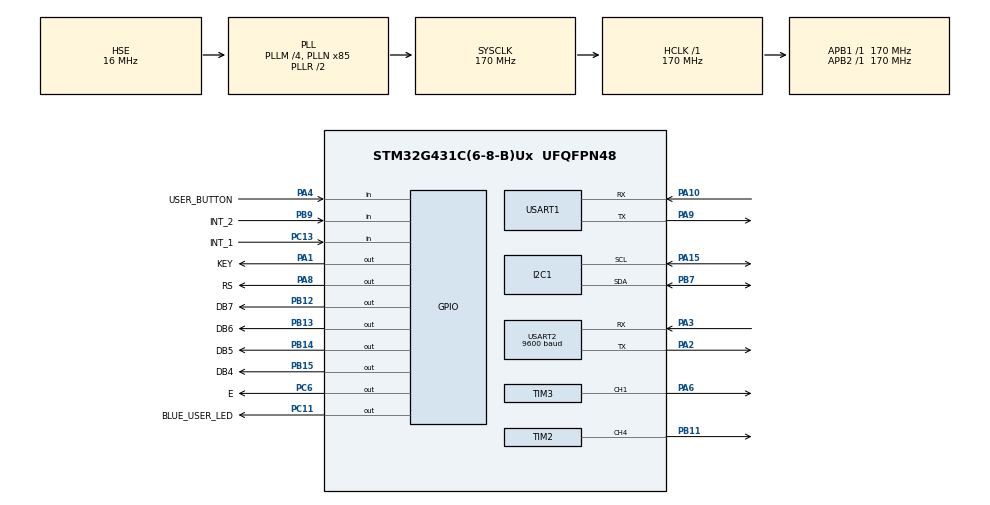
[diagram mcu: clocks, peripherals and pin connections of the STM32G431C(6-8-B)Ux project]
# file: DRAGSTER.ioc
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Dma.Request0=TIM2_CH4
Dma.TIM2_CH4.0.Direction=DMA_MEMORY_TO_PERIPH
Dma.TIM2_CH4.0.EventEnable=DISABLE
Dma.TIM2_CH4.0.Instance=DMA1_Channel1
Dma.TIM2_CH4.0.MemDataAlignment=DMA_MDATAALIGN_HALFWORD
Dma.TIM2_CH4.0.MemInc=DMA_MINC_ENABLE
Dma.TIM2_CH4.0.Mode=DMA_CIRCULAR
Dma.TIM2_CH4.0.PeriphDataAlignment=DMA_PDATAALIGN_HALFWORD
Dma.TIM2_CH4.0.PeriphInc=DMA_PINC_DISABLE
Dma.TIM2_CH4.0.Polarity=HAL_DMAMUX_REQ_GEN_RISING
Dma.TIM2_CH4.0.Priority=DMA_PRIORITY_LOW
Dma.TIM2_CH4.0.RequestNumber=1
Dma.TIM2_CH4.0.SignalID=NONE
Dma.TIM2_CH4.0.SyncEnable=DISABLE
Dma.TIM2_CH4.0.SyncPolarity=HAL_DMAMUX_SYNC_NO_EVENT
Dma.TIM2_CH4.0.SyncRequestNumber=1
Dma.TIM2_CH4.0.SyncSignalID=NONE
I2C1.Timing=0x40B285C2
Mcu.Family=STM32G4
Mcu.Name=STM32G431C(6-8-B)Ux
Mcu.Package=UFQFPN48
NVIC.DMA1_Channel1_IRQn=true\:0\:0\:false\:false\:true\:false\:true\:true
NVIC.PriorityGroup=NVIC_PRIORITYGROUP_4
NVIC.USART2_IRQn=true\:0\:0\:false\:false\:true\:true\:true\:true
PA1.GPIO_Label=KEY
PA1.Signal=GPIO_Output
PA10.Mode=Asynchronous
PA10.Signal=USART1_RX
PA13.Mode=Trace_Asynchronous_SW
PA13.Signal=SYS_JTMS-SWDIO
PA14.Mode=Trace_Asynchronous_SW
PA14.Signal=SYS_JTCK-SWCLK
PA15.Mode=I2C
PA15.Signal=I2C1_SCL
PA2.Mode=Asynchronous
PA2.Signal=USART2_TX
PA3.Mode=Asynchronous
PA3.Signal=USART2_RX
PA4.GPIO_Label=USER_BUTTON
PA4.GPIO_PuPd=GPIO_PULLUP
PA4.Signal=GPIO_Input
PA6.Signal=S_TIM3_CH1
PA8.GPIO_Label=RS
PA8.Signal=GPIO_Output
PA9.Mode=Asynchronous
PA9.Signal=USART1_TX
PB11.Signal=S_TIM2_CH4
PB12.GPIO_Label=DB7
PB12.Signal=GPIO_Output
PB13.GPIO_Label=DB6
PB13.Signal=GPIO_Output
PB14.GPIO_Label=DB5
PB14.Signal=GPIO_Output
PB15.GPIO_Label=DB4
PB15.Signal=GPIO_Output
PB3.Mode=Trace_Asynchronous_SW
PB3.Signal=SYS_JTDO-SWO
PB7.Mode=I2C
PB7.Signal=I2C1_SDA
PB9.GPIO_Label=INT_2
PB9.Signal=GPIO_Input
PC11.GPIO_Label=BLUE_USER_LED
PC11.Signal=GPIO_Output
PC13.GPIO_Label=INT_1
PC13.Signal=GPIO_Input
PC6.GPIO_Label=E
PC6.Signal=GPIO_Output
PF0-OSC_IN.Mode=HSE-External-Oscillator
PF0-OSC_IN.Signal=RCC_OSC_IN
PF1-OSC_OUT.Mode=HSE-External-Oscillator
PF1-OSC_OUT.Signal=RCC_OSC_OUT
ProjectManager.HeapSize=0x200
ProjectManager.StackSize=0x400
ProjectManager.TargetToolchain=STM32CubeIDE
RCC.ADC12Freq_Value=170000000
RCC.AHBFreq_Value=170000000
RCC.APB1Freq_Value=170000000
RCC.APB1TimFreq_Value=170000000
RCC.APB2Freq_Value=170000000
RCC.APB2TimFreq_Value=170000000
RCC.CortexFreq_Value=170000000
RCC.EXTERNAL_CLOCK_VALUE=12288000
RCC.HCLKFreq_Value=170000000
RCC.HSE_VALUE=16000000
RCC.HSI48_VALUE=48000000
RCC.HSI_VALUE=16000000
RCC.LSE_VALUE=32768
RCC.PLLM=RCC_PLLM_DIV4
RCC.PLLN=85
RCC.PLLSourceVirtual=RCC_PLLSOURCE_HSE
RCC.SYSCLKFreq_VALUE=170000000
RCC.SYSCLKSource=RCC_SYSCLKSOURCE_PLLCLK
RCC.USBFreq_Value=170000000
RCC.VCOOutputFreq_Value=340000000
SH.S_TIM2_CH4.0=TIM2_CH4,PWM Generation4 CH4
SH.S_TIM3_CH1.0=TIM3_CH1,PWM Generation1 CH1
TIM2.AutoReloadPreload=TIM_AUTORELOAD_PRELOAD_ENABLE
TIM2.Channel-PWM\ Generation4\ CH4=TIM_CHANNEL_4
TIM2.PeriodNoDither=212
TIM2.Prescaler=0
TIM3.AutoReloadPreload=TIM_AUTORELOAD_PRELOAD_ENABLE
TIM3.Channel-PWM\ Generation1\ CH1=TIM_CHANNEL_1
TIM3.PeriodNoDither=19999
TIM3.Prescaler=169
TIM3.PulseNoDither_1=999
USART1.VirtualMode-Asynchronous=VM_ASYNC
USART2.BaudRate=9600
USART2.VirtualMode-Asynchronous=VM_ASYNC
VP_SYS_VS_DBSignals.Mode=DisableDeadBatterySignals
VP_TIM2_VS_ClockSourceINT.Mode=Internal
VP_TIM3_VS_ClockSourceINT.Mode=Internal
board=custom

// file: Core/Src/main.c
/* USER CODE BEGIN Header */
/**
  ******************************************************************************
  * @file           : main.c
  * @brief          : Main program body
  ******************************************************************************
  * @attention
  *
  * Copyright (c) 2026 STMicroelectronics.
  * All rights reserved.
  *
  * This software is licensed under terms that can be found in the LICENSE file
  * in the root directory of this software component.
  * If no LICENSE file comes with this software, it is provided AS-IS.
  *
  ******************************************************************************
  */
/* USER CODE END Header */
#include "main.h"
#include "dma.h"
#include "i2c.h"
#include "tim.h"
#include "usart.h"
#include "gpio.h"

/* USER CODE BEGIN Includes */
#include "hc05_bt.h"
#include "mma8452q.h"
#include "tc1602a_lcd.h"
#include <stdio.h>
#include <string.h>
#include "bldc_esc.h"
#include "ws2812.h"
/* USER CODE END Includes */

/* USER CODE BEGIN PV */
MMA8452Q_Handle_t accel = { .hi2c=&hi2c1, .i2c_addr=MMA8452Q_I2C_ADDR,
                             .range=MMA8452Q_RANGE_8G, .odr=MMA8452Q_ODR_800HZ };
BT_Handle_t bt;
ESC_Handle_t esc;              /* add this */
/* USER CODE END PV */

void SystemClock_Config(void);

int main(void)
{

  /* USER CODE BEGIN 1 */
	/* Force PA6 LOW before ESC boots — same as holding reset on Nucleo */
//	__HAL_RCC_GPIOA_CLK_ENABLE();
//	GPIOA->MODER  &= ~(3U << (6*2));
//	GPIOA->MODER  |=  (1U << (6*2));
//	GPIOA->BSRR    =  (1U << (6+16));
  /* USER CODE END 1 */

  /* MCU Configuration--------------------------------------------------------*/

  /* Reset of all peripherals, Initializes the Flash interface and the Systick. */
  HAL_Init();

  /* Configure the system clock */
  SystemClock_Config();

  /* Initialize all configured peripherals */
  MX_GPIO_Init();
  MX_DMA_Init();
  MX_I2C1_Init();
  MX_TIM2_Init();
  MX_TIM3_Init();
  HAL_TIM_PWM_Start(&htim3, TIM_CHANNEL_1);  /* ← is this line still there? */
  __HAL_TIM_SET_COMPARE(&htim3, TIM_CHANNEL_1, 199);
  MX_USART1_UART_Init();
  MX_USART2_UART_Init();
  /* USER CODE BEGIN 2 */
  /* --- Bare minimum LCD init test --- */
//  #define LCD_RS_LOW()   HAL_GPIO_WritePin(GPIOA, GPIO_PIN_8,  GPIO_PIN_RESET)
//  #define LCD_RS_HIGH()  HAL_GPIO_WritePin(GPIOA, GPIO_PIN_8,  GPIO_PIN_SET)
//  #define LCD_E_LOW()    HAL_GPIO_WritePin(GPIOC, GPIO_PIN_6,  GPIO_PIN_RESET)
//  #define LCD_E_HIGH()   HAL_GPIO_WritePin(GPIOC, GPIO_PIN_6,  GPIO_PIN_SET)
//
//  #define LCD_D4(x) HAL_GPIO_WritePin(GPIOB, GPIO_PIN_15, x ? GPIO_PIN_SET : GPIO_PIN_RESET)
//  #define LCD_D5(x) HAL_GPIO_WritePin(GPIOB, GPIO_PIN_14, x ? GPIO_PIN_SET : GPIO_PIN_RESET)
//  #define LCD_D6(x) HAL_GPIO_WritePin(GPIOB, GPIO_PIN_13, x ? GPIO_PIN_SET : GPIO_PIN_RESET)
//  #define LCD_D7(x) HAL_GPIO_WritePin(GPIOB, GPIO_PIN_12, x ? GPIO_PIN_SET : GPIO_PIN_RESET)
//
//  /* Pulse Enable */
//  #define LCD_PULSE() do { LCD_E_HIGH(); HAL_Delay(2); LCD_E_LOW(); HAL_Delay(2); } while(0)
//
//  /* Send nibble (4 bits) */
//  #define LCD_NIBBLE(n) do {
//      LCD_D4(((n) >> 0) & 1);
//      LCD_D5(((n) >> 1) & 1);
//      LCD_D6(((n) >> 2) & 1);
//      LCD_D7(((n) >> 3) & 1);
//      LCD_PULSE();
//  } while(0)
//
//  /* Send full byte as two nibbles */
//  #define LCD_CMD(b)  do { LCD_RS_LOW();  LCD_NIBBLE((b)>>4); LCD_NIBBLE((b)&0xF); HAL_Delay(2); } while(0)
//  #define LCD_DATA(b) do { LCD_RS_HIGH(); LCD_NIBBLE((b)>>4); LCD_NIBBLE((b)&0xF); HAL_Delay(2); } while(0)
//
//  /* Power on delay */
//  HAL_Delay(100);
//  LCD_E_LOW();
//  LCD_RS_LOW();
//
//  /* Init sequence — 3× send 0x3 then switch to 4-bit */
//  LCD_D4(1); LCD_D5(1); LCD_D6(0); LCD_D7(0);
//  LCD_PULSE(); HAL_Delay(10);
//  LCD_PULSE(); HAL_Delay(5);
//  LCD_PULSE(); HAL_Delay(2);
//
//  /* Switch to 4-bit */
//  LCD_D4(0); LCD_D5(1); LCD_D6(0); LCD_D7(0);
//  LCD_PULSE(); HAL_Delay(2);
//
//  /* Function set: 4-bit, 2 lines, 5x8 */
//  LCD_CMD(0x28);
//  /* Display on, cursor off */
//  LCD_CMD(0x0C);
//  /* Clear */
//  LCD_CMD(0x01); HAL_Delay(5);
//  /* Entry mode */
//  LCD_CMD(0x06);
//
//  /* Print "HELLO" */
//  LCD_DATA('H');
//  LCD_DATA('E');
//  LCD_DATA('L');
//  LCD_DATA('L');
//  LCD_DATA('O');

  /* I2C bus scan — finds all responding devices */
//  char dbg[50];
//  HAL_UART_Transmit(&huart1, (uint8_t*)"I2C SCAN:\r\n", 11, 100);
//  for (uint8_t addr = 0x08; addr < 0x78; addr++)
//  {
//      if (HAL_I2C_IsDeviceReady(&hi2c1, addr << 1, 1, 10) == HAL_OK)
//      {
//          snprintf(dbg, sizeof(dbg), "  Found device at 0x%02X\r\n", addr);
//          HAL_UART_Transmit(&huart1, (uint8_t*)dbg, strlen(dbg), 100);
//      }
//  }
//  HAL_UART_Transmit(&huart1, (uint8_t*)"SCAN DONE\r\n", 11, 100);
//
//  /* Using HAL_I2C_Mem_Read — handles repeated start automatically */
//  uint8_t who = 0;
//  HAL_StatusTypeDef r = HAL_I2C_Mem_Read(&hi2c1,
//                                           0x1C << 1,  /* device address */
//                                           0x0D,        /* WHO_AM_I register */
//                                           I2C_MEMADD_SIZE_8BIT,
//                                           &who, 1, 100);
//
//  snprintf(dbg, sizeof(dbg), "MEM_READ=%d WHO=0x%02X\r\n", r, who);
//  HAL_UART_Transmit(&huart1, (uint8_t*)dbg, strlen(dbg), 100);
//
//  /* Temporary accelerometer diagnosis */
//  MMA8452Q_Status_t accel_status = MMA8452Q_Init(&accel);
//
//  snprintf(dbg, sizeof(dbg), "ACCEL INIT: %s\r\n",
//           accel_status == MMA8452Q_OK ? "OK" : "FAILED");
//  HAL_UART_Transmit(&huart1, (uint8_t*)dbg, strlen(dbg), 100);
  WS2812_Init();
  WS2812_SetColor(0, 50, 0);  /* green */
  WS2812_Refresh();
  HAL_Delay(10);

  LCD_Splash();
  MMA8452Q_Init(&accel);
  BT_Init(&bt, &huart2, &huart1, &accel);
  HAL_Delay(1000);
  LCD_Clear();
  LCD_ResetSpeed();
  LCD_ShowStatus("Arming ESC...");
  ESC_Init(&esc, &htim3, TIM_CHANNEL_1);
  LCD_ShowStatus("ESC Ready!  ");
  HAL_Delay(1000);
  LCD_ShowStatus("                ");
  /* Raw ESC test — bypass all drivers */
//  HAL_TIM_PWM_Start(&htim3, TIM_CHANNEL_1);
//
//  __HAL_TIM_SET_COMPARE(&htim3, TIM_CHANNEL_1, 2999);
//  HAL_Delay(4000);
//
//  __HAL_TIM_SET_COMPARE(&htim3, TIM_CHANNEL_1, 199);
//  HAL_Delay(2000);
//
//  //__HAL_TIM_SET_COMPARE(&htim3, TIM_CHANNEL_1, 2999);
//  HAL_Delay(2000);

  /* USER CODE END 2 */

  /* Infinite loop */
  /* USER CODE BEGIN WHILE */
  while (1)
  {
	  //__HAL_TIM_SET_COMPARE(&htim3, TIM_CHANNEL_1, 999);

	  BT_Task(&bt);

	      if (MMA8452Q_IsDataReady(&accel))
	      {
	          float g = 0.0f;
	          if (MMA8452Q_ReadAccelX(&accel, &g) == MMA8452Q_OK)
	          {
	        	  LCD_IntegrateSpeed(g, 1.0f/800.0f);
	          }
	      }

    /* USER CODE END WHILE */

  }
}

void SystemClock_Config(void)
{
  RCC_OscInitTypeDef RCC_OscInitStruct = {0};
  RCC_ClkInitTypeDef RCC_ClkInitStruct = {0};

  /** Configure the main internal regulator output voltage
  */
  HAL_PWREx_ControlVoltageScaling(PWR_REGULATOR_VOLTAGE_SCALE1_BOOST);

  /** Initializes the RCC Oscillators according to the specified parameters
  * in the RCC_OscInitTypeDef structure.
  */
  RCC_OscInitStruct.OscillatorType = RCC_OSCILLATORTYPE_HSE;
  RCC_OscInitStruct.HSEState = RCC_HSE_ON;
  RCC_OscInitStruct.PLL.PLLState = RCC_PLL_ON;
  RCC_OscInitStruct.PLL.PLLSource = RCC_PLLSOURCE_HSE;
  RCC_OscInitStruct.PLL.PLLM = RCC_PLLM_DIV4;
  RCC_OscInitStruct.PLL.PLLN = 85;
  RCC_OscInitStruct.PLL.PLLP = RCC_PLLP_DIV2;
  RCC_OscInitStruct.PLL.PLLQ = RCC_PLLQ_DIV2;
  RCC_OscInitStruct.PLL.PLLR = RCC_PLLR_DIV2;
  if (HAL_RCC_OscConfig(&RCC_OscInitStruct) != HAL_OK)
  {
    Error_Handler();
  }

  /** Initializes the CPU, AHB and APB buses clocks
  */
  RCC_ClkInitStruct.ClockType = RCC_CLOCKTYPE_HCLK|RCC_CLOCKTYPE_SYSCLK
                              |RCC_CLOCKTYPE_PCLK1|RCC_CLOCKTYPE_PCLK2;
  RCC_ClkInitStruct.SYSCLKSource = RCC_SYSCLKSOURCE_PLLCLK;
  RCC_ClkInitStruct.AHBCLKDivider = RCC_SYSCLK_DIV1;
  RCC_ClkInitStruct.APB1CLKDivider = RCC_HCLK_DIV1;
  RCC_ClkInitStruct.APB2CLKDivider = RCC_HCLK_DIV1;

  if (HAL_RCC_ClockConfig(&RCC_ClkInitStruct, FLASH_LATENCY_4) != HAL_OK)
  {
    Error_Handler();
  }
}

void Error_Handler(void)
{
  __disable_irq();
  while (1)
  {
  }
}
